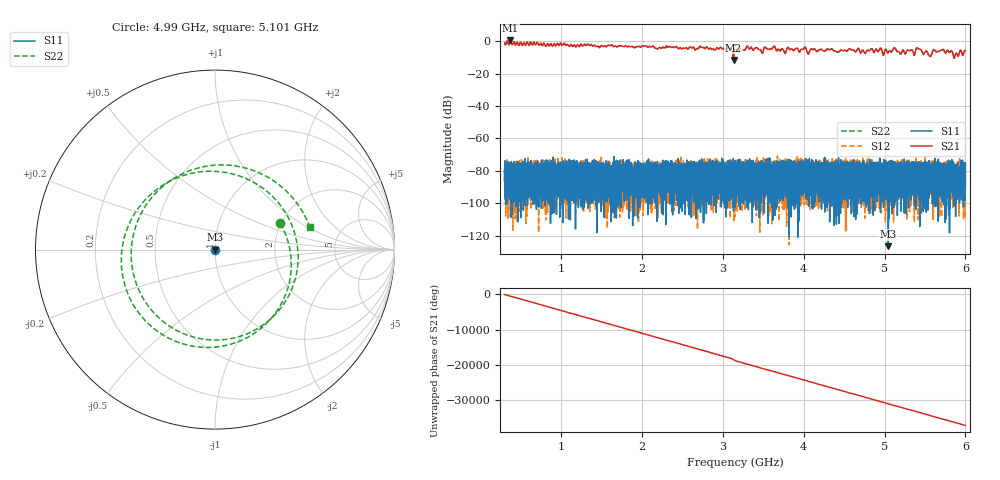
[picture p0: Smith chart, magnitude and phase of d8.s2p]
!Agilent Technologies,N5230C,SG49000117,A.08.50.07
!Agilent N5230C: A.08.50.07
!Date: Sunday, March 17, 2024 02:55:24
!Correction: S11(Off)
!S21(Off)
!S12(Off)
!S22(Off)
!S2P File: Measurements: S11, S21, S12, S22:
# Hz S  RI  R 50
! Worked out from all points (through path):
!   20001 points, 300 MHz to 6 GHz, reference 50 ohm
!   highest |S21| = 0.35 dB at 372.1 MHz (marker M1); lowest = -11.7 dB at 3.133 GHz (marker M2)
!   lowest |S11| = -126.3 dB at 5.047 GHz (marker M3), VSWR 1.00, Z = 50 + j4.76e-05 ohm
!   |S11| at or under -10 dB: start of sweep to end of sweep
!   |S22| runs from -11.7 to 0.4 dB; largest |S21 - S12| = 1
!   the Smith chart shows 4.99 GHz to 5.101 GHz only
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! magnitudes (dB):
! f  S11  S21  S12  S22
! 300 MHz  -84.8  -1.2  -86.2  -1.2
! 372.1 MHz  -84.7  0.3  -90.2  0.4
! 1.25 GHz  -80.9  -2.1  -83.0  -2.1
! 2.2 GHz  -88.0  -4.6  -105.0  -4.6
! 3.068 GHz  -81.1  -4.2  -78.4  -4.2
! 3.133 GHz  -84.7  -11.7  -89.0  -11.7
! 3.15 GHz  -78.4  -5.1  -75.7  -5.1
! 3.319 GHz  -90.0  -4.4  -82.5  -4.3
! 3.473 GHz  -94.8  -5.9  -73.8  -5.9
! 3.623 GHz  -79.9  -3.7  -82.3  -3.6
! 3.763 GHz  -89.4  -7.0  -84.7  -7.0
! 4.1 GHz  -80.7  -4.9  -82.4  -4.8
! 5.047 GHz  -126.3  -7.0  -81.0  -7.0
! 5.05 GHz  -81.0  -6.7  -89.8  -6.7
! 5.122 GHz  -87.3  -4.1  -78.2  -4.1
! 5.184 GHz  -87.5  -7.0  -81.7  -6.9
! 5.358 GHz  -78.8  -7.6  -79.1  -7.6
! 5.417 GHz  -76.6  -4.7  -91.6  -4.7
! 5.558 GHz  -83.6  -9.3  -83.7  -9.3
! 5.711 GHz  -94.7  -5.4  -83.1  -5.4
! 5.88 GHz  -92.8  -7.8  -82.6  -7.8
! 6 GHz  -76.9  -5.9  -80.6  -6.0
